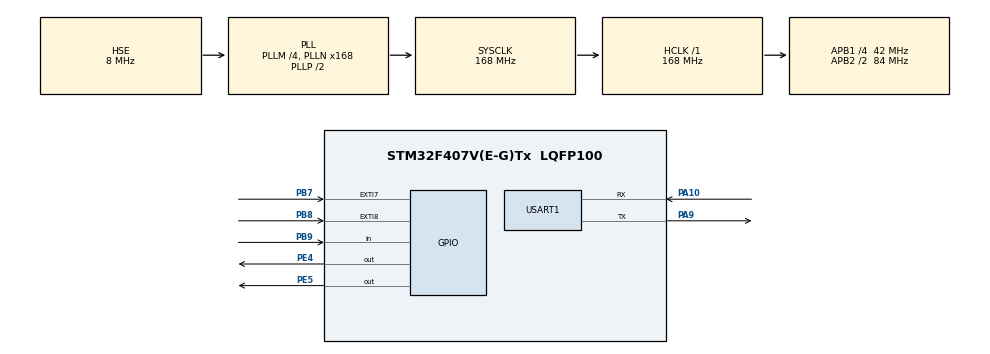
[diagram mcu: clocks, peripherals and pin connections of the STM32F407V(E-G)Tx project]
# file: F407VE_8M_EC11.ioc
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Mcu.Family=STM32F4
Mcu.Name=STM32F407V(E-G)Tx
Mcu.Package=LQFP100
NVIC.EXTI9_5_IRQn=true\:0\:0\:false\:false\:true\:true\:true
NVIC.PriorityGroup=NVIC_PRIORITYGROUP_4
NVIC.USART1_IRQn=true\:0\:0\:false\:false\:true\:true\:true
PA10.Mode=Asynchronous
PA10.Signal=USART1_RX
PA13.Mode=Serial_Wire
PA13.Signal=SYS_JTMS-SWDIO
PA14.Mode=Serial_Wire
PA14.Signal=SYS_JTCK-SWCLK
PA9.Mode=Asynchronous
PA9.Signal=USART1_TX
PB7.GPIO_ModeDefaultEXTI=GPIO_MODE_IT_FALLING
PB7.GPIO_PuPd=GPIO_PULLUP
PB7.Signal=GPXTI7
PB8.GPIO_ModeDefaultEXTI=GPIO_MODE_IT_FALLING
PB8.GPIO_PuPd=GPIO_PULLUP
PB8.Signal=GPXTI8
PB9.GPIO_PuPd=GPIO_PULLUP
PB9.Signal=GPIO_Input
PC14-OSC32_IN.Mode=LSE-External-Oscillator
PC14-OSC32_IN.Signal=RCC_OSC32_IN
PC15-OSC32_OUT.Mode=LSE-External-Oscillator
PC15-OSC32_OUT.Signal=RCC_OSC32_OUT
PE4.GPIO_ModeDefaultOutputPP=GPIO_MODE_OUTPUT_PP
PE4.GPIO_PuPd=GPIO_PULLUP
PE4.GPIO_Speed=GPIO_SPEED_FREQ_VERY_HIGH
PE4.PinState=GPIO_PIN_SET
PE4.Signal=GPIO_Output
PE5.GPIO_ModeDefaultOutputPP=GPIO_MODE_OUTPUT_PP
PE5.GPIO_PuPd=GPIO_PULLUP
PE5.GPIO_Speed=GPIO_SPEED_FREQ_VERY_HIGH
PE5.PinState=GPIO_PIN_SET
PE5.Signal=GPIO_Output
PH0-OSC_IN.Mode=HSE-External-Oscillator
PH0-OSC_IN.Signal=RCC_OSC_IN
PH1-OSC_OUT.Mode=HSE-External-Oscillator
PH1-OSC_OUT.Signal=RCC_OSC_OUT
ProjectManager.HeapSize=0x200
ProjectManager.StackSize=0x400
ProjectManager.TargetToolchain=MDK-ARM V5.27
RCC.48MHZClocksFreq_Value=84000000
RCC.AHBFreq_Value=168000000
RCC.APB1CLKDivider=RCC_HCLK_DIV4
RCC.APB1Freq_Value=42000000
RCC.APB1TimFreq_Value=84000000
RCC.APB2CLKDivider=RCC_HCLK_DIV2
RCC.APB2Freq_Value=84000000
RCC.APB2TimFreq_Value=168000000
RCC.CortexFreq_Value=168000000
RCC.HCLKFreq_Value=168000000
RCC.HSE_VALUE=8000000
RCC.HSI_VALUE=16000000
RCC.PLLM=4
RCC.PLLN=168
RCC.PLLSourceVirtual=RCC_PLLSOURCE_HSE
RCC.SYSCLKFreq_VALUE=168000000
RCC.SYSCLKSource=RCC_SYSCLKSOURCE_PLLCLK
RCC.VCOOutputFreq_Value=336000000
USART1.VirtualMode=VM_ASYNC
board=custom

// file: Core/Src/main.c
/* USER CODE BEGIN Header */
/**
  ******************************************************************************
  * @file           : main.c
  * @brief          : Main program body
  ******************************************************************************
  * @attention
  *
  * <h2><center>&copy; Copyright (c) 2021 STMicroelectronics.
  * All rights reserved.</center></h2>
  *
  * This software component is licensed by ST under BSD 3-Clause license,
  * the "License"; You may not use this file except in compliance with the
  * License. You may obtain a copy of the License at:
  *                        opensource.org/licenses/BSD-3-Clause
  *
  ******************************************************************************
  */
/* USER CODE END Header */
#include "main.h"
#include "usart.h"
#include "gpio.h"

/* USER CODE BEGIN Includes */
#include "DELAY/delay.h"
#include "USART/myusart1.h"
#include <stdio.h>
/* USER CODE END Includes */

/* USER CODE BEGIN PV */
uint8_t counter = 0;
uint8_t tick = 0;
/* USER CODE END PV */

void SystemClock_Config(void);

int main(void)
{

  /* MCU Configuration--------------------------------------------------------*/

  /* Reset of all peripherals, Initializes the Flash interface and the Systick. */
  HAL_Init();

  /* Configure the system clock */
  SystemClock_Config();

  /* Initialize all configured peripherals */
  MX_GPIO_Init();
  MX_USART1_UART_Init();
  /* USER CODE BEGIN 2 */
  Delay_Init(168);
  MyUSART1_Init(&huart1);
  printf("EC11 Encoder test\r\n");
  /* USER CODE END 2 */

  /* Infinite loop */
  while (1)
  {

  }
}

void SystemClock_Config(void)
{
  RCC_OscInitTypeDef RCC_OscInitStruct = {0};
  RCC_ClkInitTypeDef RCC_ClkInitStruct = {0};

  /** Configure the main internal regulator output voltage
  */
  __HAL_RCC_PWR_CLK_ENABLE();
  __HAL_PWR_VOLTAGESCALING_CONFIG(PWR_REGULATOR_VOLTAGE_SCALE1);
  /** Initializes the RCC Oscillators according to the specified parameters
  * in the RCC_OscInitTypeDef structure.
  */
  RCC_OscInitStruct.OscillatorType = RCC_OSCILLATORTYPE_HSE;
  RCC_OscInitStruct.HSEState = RCC_HSE_ON;
  RCC_OscInitStruct.PLL.PLLState = RCC_PLL_ON;
  RCC_OscInitStruct.PLL.PLLSource = RCC_PLLSOURCE_HSE;
  RCC_OscInitStruct.PLL.PLLM = 4;
  RCC_OscInitStruct.PLL.PLLN = 168;
  RCC_OscInitStruct.PLL.PLLP = RCC_PLLP_DIV2;
  RCC_OscInitStruct.PLL.PLLQ = 4;
  if (HAL_RCC_OscConfig(&RCC_OscInitStruct) != HAL_OK)
  {
    Error_Handler();
  }
  /** Initializes the CPU, AHB and APB buses clocks
  */
  RCC_ClkInitStruct.ClockType = RCC_CLOCKTYPE_HCLK|RCC_CLOCKTYPE_SYSCLK
                              |RCC_CLOCKTYPE_PCLK1|RCC_CLOCKTYPE_PCLK2;
  RCC_ClkInitStruct.SYSCLKSource = RCC_SYSCLKSOURCE_PLLCLK;
  RCC_ClkInitStruct.AHBCLKDivider = RCC_SYSCLK_DIV1;
  RCC_ClkInitStruct.APB1CLKDivider = RCC_HCLK_DIV4;
  RCC_ClkInitStruct.APB2CLKDivider = RCC_HCLK_DIV2;

  if (HAL_RCC_ClockConfig(&RCC_ClkInitStruct, FLASH_LATENCY_5) != HAL_OK)
  {
    Error_Handler();
  }
}

/* USER CODE BEGIN 4 */
void HAL_GPIO_EXTI_Callback(uint16_t GPIO_Pin)
{
  // KEY: two ports, connect to PB7 and GND
  // A/B phase: connect to PB8/PB9
  // GND(between A/B phase): connect to GND
  GPIO_PinState state;
  if(GPIO_Pin == GPIO_PIN_7)
  {
    Delay_ms(10);
    if(HAL_GPIO_ReadPin(GPIOB, GPIO_PIN_7) == GPIO_PIN_RESET)
      printf("Pressed %d\r\n", ++tick);
  }
  else if(GPIO_Pin == GPIO_PIN_8)
  {
    state = HAL_GPIO_ReadPin(GPIOB, GPIO_PIN_9);
    Delay_ms(1);
    if(state == HAL_GPIO_ReadPin(GPIOB, GPIO_PIN_9) && state == GPIO_PIN_SET)
      printf("Left Rotate %d\r\n", --counter);
    else if(state == HAL_GPIO_ReadPin(GPIOB, GPIO_PIN_9) && state == GPIO_PIN_RESET)
      printf("Right Rotate %d\r\n", ++counter);
  }
}
/* USER CODE END 4 */

void Error_Handler(void)
{
  __disable_irq();
  while (1)
  {
  }
}

/************************ (C) COPYRIGHT STMicroelectronics *****END OF FILE****/
